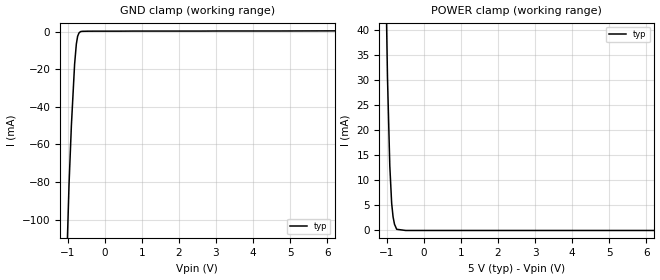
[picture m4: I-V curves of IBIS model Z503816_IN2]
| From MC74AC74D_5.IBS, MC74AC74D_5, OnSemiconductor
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| (C) COPYRIGHT 1993-2000
| MENTOR GRAPHICS CORPORATION
| ICX STANDARD LIBRARY, ICX PROJECT MODELING,
| ICX CUSTOM MODELING, ICX VENDOR MODEL
| ALL RIGHTS RESERVED.
| THE FOLLOWING ARE TRADEMARKS OR SERVICE MARKS OF
| MENTOR GRAPHICS CORPORATION:ICX (R), ICX STANDARD
| LIBRARY(R), ICX PROJECT MODELING(R), ICX CUSTOM
| MODELING(R), qualityIBIS(TM), MODELVIEWER(TM),
| AND MODELEDITOR(TM)
| ALL COPIES OF SOFTWARE, INCLUDING BUT NOT LIMITED TO
| ANY MODIFICATIONS, ENHANCEMENTS OR DERIVATIVE WORKS,
| MUST CONTAIN ALL MENTOR GRAPHICS CORPORATION'S
| NOTICES AND LEGENDS, INCLUDING THOSE EMBEDDED IN
| SOFTWARE AND THOSE AFFIXED TO SOFTWARE MEDIUM
| AND CONTAINER, AS RECEIVED FROM MENTOR GRAPHICS
| CORPORATION.
| Model Application Version 1.89 2/18/99.
[Model] Z503816_IN2
Model_type Input
Vinl = 1.500V
Vinh = 3.500V
C_comp 4.000pF NA NA
| variable typ   min   max
[Voltage Range] 5.000V NA NA
[GND Clamp Reference] 0.000V NA NA
[POWER Clamp Reference] 5.000V NA NA
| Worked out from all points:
|   GND clamp passes 1 mA (typ) near -0.70 V on its own axis
|   POWER clamp passes 1 mA (typ) near -0.78 V on its own axis
[GND Clamp]
-5V       -3.453A    NA         NA
-1.02V    -120.5mA   NA         NA
-960.5mV  -81.33mA   NA         NA
-896.9mV  -49.87mA   NA         NA
-810.5mV  -17.43mA   NA         NA
-763.6mV  -6.667mA   NA         NA
-729mV    -2.549mA   NA         NA
-687.1mV  -630.5uA   NA         NA
-648.8mV  -42.78uA   NA         NA
10V       514.8uA    NA         NA
[POWER Clamp]
-5V       2.5A       NA         NA
-1.074V   72.53mA    NA         NA
-981mV    30.7mA     NA         NA
-918mV    12.9mA     NA         NA
-868mV    5.459mA    NA         NA
-830mV    2.729mA    NA         NA
-791mV    1.236mA    NA         NA
-732mV    235.5uA    NA         NA
-488mV    0A         NA         NA
10V       0A         NA         NA
